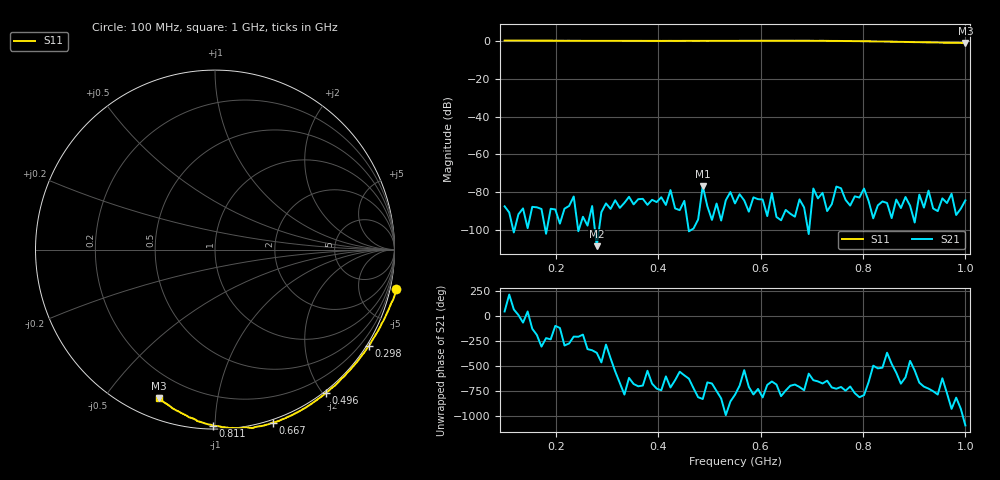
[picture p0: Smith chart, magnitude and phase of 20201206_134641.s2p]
# HZ S RI R 50
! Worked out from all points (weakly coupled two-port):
!   101 points, 100 MHz to 1 GHz, reference 50 ohm
!   highest |S21| = -76.82 dB at 487 MHz (marker M1); lowest = -108.6 dB at 280 MHz (marker M2)
!   lowest |S11| = -1.1 dB at 1 GHz (marker M3), VSWR 16.50, Z = 4.47 - j34.4 ohm
!   |S11| at or under -10 dB: nowhere
!   S12 and S22 are empty: the file has one direction only
!   S11 on the Smith chart (normalised r, x): 100 MHz: -1.31, -9.10; 298 MHz: -0.07, -3.49; 496 MHz: -0.02, -2.03; 667 MHz: -0.02, -1.39; 811 MHz: 0.02, -0.99; 1 GHz: 0.09, -0.69
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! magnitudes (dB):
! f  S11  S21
! 100 MHz  0.3  -87.5
! 253 MHz  0.1  -93.1
! 280 MHz  0.1  -108.6
! 298 MHz  0.1  -86.0
! 406 MHz  0.1  -82.7
! 424 MHz  0.1  -78.9
! 478 MHz  0.1  -94.5
! 487 MHz  0.1  -76.8
! 496 MHz  0.1  -87.5
! 550 MHz  0.1  -86.0
! 667 MHz  0.1  -93.0
! 694 MHz  0.1  -102.2
! 703 MHz  0.1  -78.1
! 712 MHz  0.1  -83.3
! 739 MHz  0.0  -86.4
! 748 MHz  0.0  -77.1
! 766 MHz  0.0  -84.1
! 793 MHz  -0.1  -82.9
! 802 MHz  -0.1  -78.1
! 811 MHz  -0.2  -84.7
! 856 MHz  -0.4  -93.8
! 1 GHz  -1.1  -84.4
